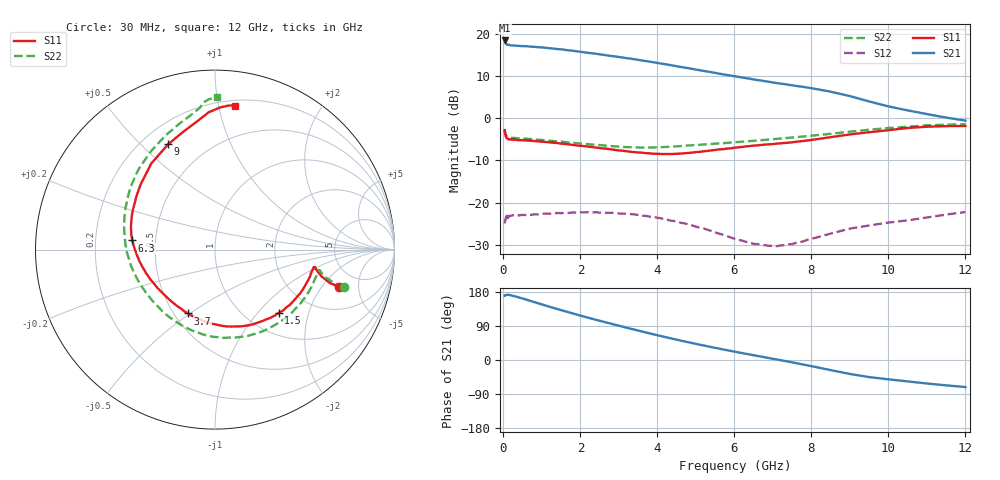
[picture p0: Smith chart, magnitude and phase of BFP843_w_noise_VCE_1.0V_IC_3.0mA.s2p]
! Infineon Technologies  Discrete & RF Semiconductors
! BFP843
! VCE =  1.0 V,  IC =  3.0 mA
! Common Emitter S-Parameters:  Aug 2013
# GHz  S  MA  R  50
!  f  S11  S21  S12  S22
! GHz  MAG  ANG  MAG  ANG  MAG  ANG  MAG  ANG
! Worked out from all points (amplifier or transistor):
!   103 points, 30 MHz to 12 GHz, reference 50 ohm
!   highest |S21| = 18.4 dB at 30 MHz (marker M1)
!   |S21| within 3 dB of that: start of sweep to 2.264 GHz
!   unconditionally stable (mu >= 1): 119.4 MHz to 120.8 MHz; 142.4 MHz to 733.9 MHz; 2.911 GHz to 11.34 GHz
!   at 400 MHz: K = 1.01, MAG = 19.4 dB, |S12| = -23.0 dB
!   at 3.7 GHz: K = 1.12, MAG = 16.2 dB, |S12| = -23.1 dB
!   at 12 GHz: K = 0.90, MSG = 10.8 dB, |S12| = -22.2 dB
!   lowest NFmin = 1.03 dB at 450 MHz
!   S11 on the Smith chart (normalised r, x): 30 MHz: 3.46, -2.96; 1.5 GHz: 1.38, -1.30; 3.7 GHz: 0.59, -0.49; 6.3 GHz: 0.37, +0.05; 9 GHz: 0.30, +0.61; 12 GHz: 0.24, +1.12
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0.03  0.7188 -16.7  8.328 169.4  0.0567 36.0  0.7467 -16.2
0.05  0.6391 -15.2  7.786 171.3  0.0622 24.3  0.659 -14.7
0.07  0.5956 -12.9  7.547 171.7  0.0658 14.2  0.6249 -13.2
0.13  0.5678 -10.0  7.412 172.1  0.0699 9.5  0.5923 -11.4
0.8  0.5374 -24.6  6.996 152.8  0.0728 -0.2  0.563 -32.0
1.1  0.523 -33.0  6.814 143.6  0.0745 -2.9  0.5478 -43.4
1.5  0.4999 -44.9  6.538 131.6  0.0753 -6.1  0.5289 -58.4
1.8  0.4824 -53.8  6.296 122.8  0.0767 -8.6  0.5142 -69.5
2.1  0.4675 -62.7  6.022 114.3  0.0769 -12.1  0.4963 -80.8
2.4  0.4501 -71.8  5.802 106.1  0.0772 -15.6  0.4859 -91.5
2.9  0.4213 -87.3  5.391 93.0  0.0756 -20.7  0.4644 -109.6
3.7  0.3861 -112.8  4.749 72.7  0.0698 -30.7  0.4501 -137.5
4.1  0.3778 -126.3  4.429 62.9  0.0651 -34.7  0.454 -150.2
4.6  0.3815 -143.3  4.05 51.4  0.058 -39.2  0.4683 -163.6
5.1  0.4003 -158.5  3.7 40.4  0.0506 -41.5  0.4851 -175.3
6.1  0.4526 177.7  3.085 20.1  0.0363 -37.7  0.5233 165.3
6.3  0.4641 173.7  2.984 16.3  0.0344 -33.6  0.5321 161.7
7.4  0.5138 151.4  2.491 -4.3  0.0321 -9.5  0.5862 143.0
8.5  0.5968 126.5  2.062 -26.7  0.0431 2.6  0.6543 122.9
9  0.6427 113.9  1.828 -36.8  0.0494 1.7  0.6932 113.4
10.5  0.7661 92.6  1.238 -56.5  0.0618 -3.0  0.7936 96.2
12  0.8107 82.0  0.937 -71.4  0.0776 -10.4  0.8484 89.3
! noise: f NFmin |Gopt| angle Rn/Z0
0.45  1.03  0.27  8  0.03
0.9  1.05  0.28  18  0.05
1.5  1.1  0.27  30  0.12
1.9  1.13  0.26  40  0.21
2.4  1.19  0.25  50  0.29
3.5  1.32  0.2  69  0.4
5.5  1.54  0.16  173  0.49
10  2.44  0.54  -80  0.55
